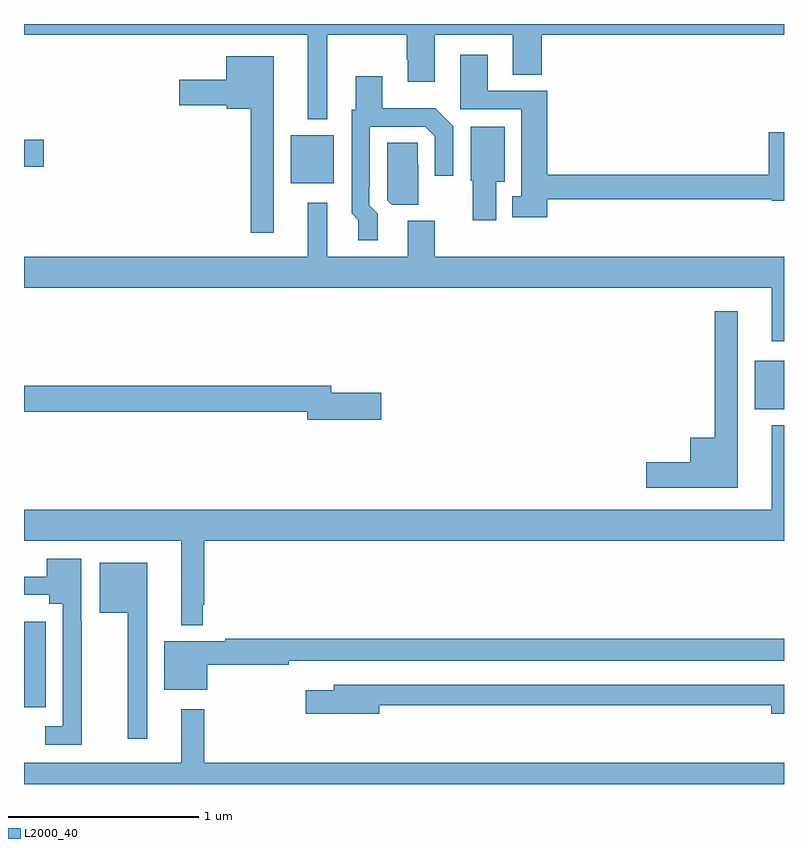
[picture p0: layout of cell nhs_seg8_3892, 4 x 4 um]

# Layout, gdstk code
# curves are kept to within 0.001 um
import gdstk
lib = gdstk.Library(unit=1e-6, precision=1e-09)
def R(c, l, rs):  # rectangles x0, y0, x1, y1
    for r in rs: c.add(gdstk.rectangle(r[:2], r[2:], *l))
def P(c, l, *ps):  # polygons
    for p in ps: c.add(gdstk.Polygon(p, *l))
L2000_40 = (2000, 40)

nhs_seg8_3892 = lib.new_cell('nhs_seg8_3892')
R(nhs_seg8_3892, L2000_40, [(351,1102.305,351.115,1102.753), (354.845,1103.873,355,1104.127), (352.403,1105.061,352.63,1105.315), (351,1105.15,351.103,1105.292)])
P(nhs_seg8_3892, L2000_40, [(352.597,1105.844),(353.014,1105.844),(353.014,1105.711),(353.021,1105.711),(353.021,1105.596),(353.161,1105.596),(353.161,1105.844),(353.573,1105.844),(353.573,1105.633),(353.726,1105.633),(353.726,1105.844),(355,1105.844),(355,1105.9),(351,1105.9),(351,1105.844),(352.493,1105.844),(352.493,1105.4),(352.597,1105.4)],
  [(353.753,1104.978),(354.936,1104.978),(354.936,1104.97),(355,1104.97),(355,1105.33),(354.92,1105.33),(354.92,1105.106),(353.753,1105.106),(353.753,1105.548),(353.44,1105.548),(353.44,1105.738),(353.297,1105.738),(353.297,1105.452),(353.618,1105.452),(353.618,1104.994),(353.57,1104.994),(353.57,1104.884),(353.753,1104.884)],
  [(352.315,1105.729),(352.064,1105.729),(352.064,1105.606),(351.816,1105.606),(351.816,1105.472),(352.068,1105.472),(352.068,1105.454),(352.194,1105.454),(352.194,1104.801),(352.315,1104.801)],
  [(352.861,1104.902),(352.818,1104.945),(352.818,1105.045),(352.821,1105.045),(352.821,1105.359),(353.112,1105.359),(353.163,1105.308),(353.163,1105.101),(353.259,1105.101),(353.259,1105.362),(353.165,1105.456),(352.885,1105.456),(352.885,1105.624),(352.745,1105.624),(352.745,1105.449),(352.725,1105.449),(352.724,1104.904),(352.76,1104.868),(352.76,1104.762),(352.861,1104.762)],
  [(353.485,1105.07),(353.53,1105.07),(353.53,1105.36),(353.351,1105.36),(353.351,1105.074),(353.363,1105.074),(353.363,1104.867),(353.485,1104.867)],
  [(353.074,1105.163),(353.073,1105.163),(353.073,1105.274),(352.911,1105.274),(352.911,1104.972),(352.935,1104.949),(353.074,1104.949)],
  [(355,1104.676),(353.161,1104.676),(353.161,1104.864),(353.021,1104.864),(353.021,1104.676),(352.597,1104.676),(352.597,1104.958),(352.493,1104.958),(352.493,1104.676),(351,1104.676),(351,1104.512),(354.935,1104.512),(354.935,1104.231),(355,1104.231)],
  [(354.757,1104.388),(354.636,1104.388),(354.636,1103.722),(354.506,1103.722),(354.506,1103.594),(354.276,1103.594),(354.276,1103.459),(354.757,1103.459)],
  [(352.879,1103.96),(352.618,1103.96),(352.618,1103.996),(351,1103.996),(351,1103.86),(352.49,1103.86),(352.49,1103.818),(352.879,1103.818)],
  [(351.942,1102.843),(351.949,1102.843),(351.949,1103.18),(355,1103.18),(355,1103.788),(354.935,1103.788),(354.935,1103.344),(351,1103.344),(351,1103.18),(351.827,1103.18),(351.827,1102.736),(351.942,1102.736)],
  [(351.303,1102.754),(351.3,1102.754),(351.3,1103.086),(351.119,1103.086),(351.119,1102.992),(351,1102.992),(351,1102.896),(351.134,1102.896),(351.134,1102.85),(351.204,1102.85),(351.204,1102.203),(351.111,1102.203),(351.111,1102.107),(351.303,1102.107)],
  [(351.649,1103.065),(351.398,1103.065),(351.398,1102.802),(351.545,1102.802),(351.545,1102.137),(351.649,1102.137)],
  [(351.964,1102.528),(352.394,1102.528),(352.394,1102.548),(355,1102.548),(355,1102.664),(352.06,1102.664),(352.06,1102.651),(351.737,1102.651),(351.737,1102.397),(351.964,1102.397)],
  [(352.87,1102.314),(354.932,1102.314),(354.932,1102.271),(355,1102.271),(355,1102.422),(352.631,1102.422),(352.631,1102.393),(352.482,1102.393),(352.482,1102.271),(352.87,1102.271)],
  [(355,1102.012),(351.949,1102.012),(351.949,1102.294),(351.827,1102.294),(351.827,1102.012),(351,1102.012),(351,1101.9),(355,1101.9)])

lib.write_gds('nhs_seg8_3892.gds')
